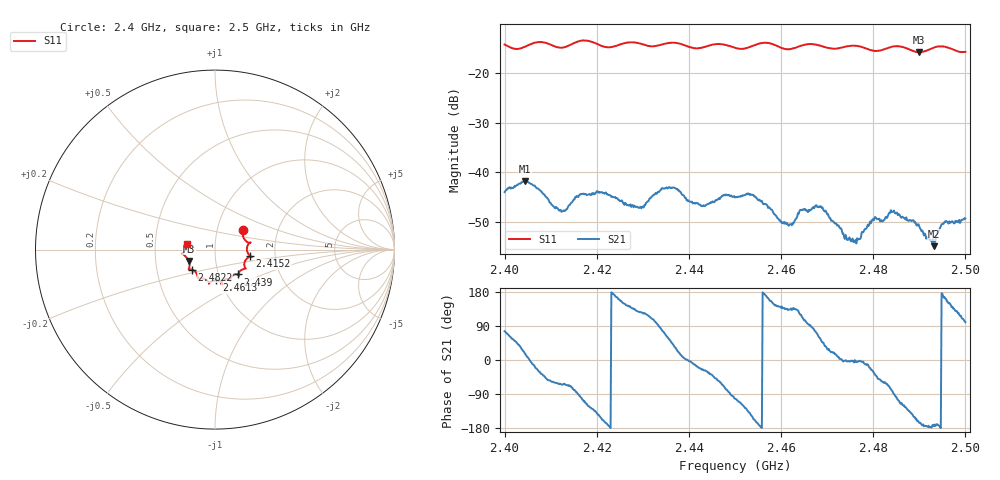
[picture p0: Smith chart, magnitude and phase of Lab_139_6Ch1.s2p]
# Hz S RI R 50
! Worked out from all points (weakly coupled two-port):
!   601 points, 2.4 GHz to 2.5 GHz, reference 50 ohm
!   highest |S21| = -41.78 dB at 2.4043 GHz (marker M1); lowest = -54.8 dB at 2.4932 GHz (marker M2)
!   lowest |S11| = -15.9 dB at 2.49 GHz (marker M3), VSWR 1.38, Z = 36.9 - j4.84 ohm
!   |S11| at or under -10 dB: start of sweep to end of sweep
!   S12 and S22 are empty: the file has one direction only
!   S11 on the Smith chart (normalised r, x): 2.4 GHz: 1.33, +0.31; 2.4152 GHz: 1.48, -0.11; 2.439 GHz: 1.24, -0.36; 2.4613 GHz: 0.96, -0.34; 2.4822 GHz: 0.76, -0.17; 2.5 GHz: 0.73, +0.05
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2.4e9  0.1552 0.1115  0.00154 0.00618  0 0  0 0
2.404333e9  0.1752 0.0453  0.00772 0.00259  0 0  0 0
2.412167e9  0.1776 0.00351  0.00186 -0.00379  0 0  0 0
2.415167e9  0.1952 -0.0362  0.00104 -0.00528  0 0  0 0
2.416667e9  0.2048 -0.0423  -0.00104 -0.00597  0 0  0 0
2.429333e9  0.1646 -0.1062  -0.00266 0.00361  0 0  0 0
2.433333e9  0.132 -0.1325  -0.000235 0.0064  0 0  0 0
2.439e9  0.1277 -0.1385  0.00573 0.000434  0 0  0 0
2.443167e9  0.0894 -0.1555  0.0042 -0.00211  0 0  0 0
2.45e9  0.0688 -0.1634  -0.00118 -0.00549  0 0  0 0
2.453833e9  0.0355 -0.182  -0.00524 -0.00288  0 0  0 0
2.461333e9  0.00764 -0.1711  -0.00219 0.0022  0 0  0 0
2.466667e9  -0.0339 -0.1904  0.000263 0.0043  0 0  0 0
2.468833e9  -0.0357 -0.1807  0.00292 0.00331  0 0  0 0
2.475833e9  -0.0939 -0.1608  0.00199 -0.000229  0 0  0 0
2.480167e9  -0.1081 -0.1251  0.00277 -0.00186  0 0  0 0
2.482167e9  -0.1283 -0.1116  0.0017 -0.00279  0 0  0 0
2.483333e9  -0.1395 -0.1102  0.00146 -0.00355  0 0  0 0
2.49e9  -0.1467 -0.0638  -0.00278 -0.000705  0 0  0 0
2.493167e9  -0.1765 -0.027  -0.00182 -0.000171  0 0  0 0
2.495333e9  -0.1812 -0.0204  -0.003 0.000831  0 0  0 0
2.5e9  -0.1582 0.0337  -0.000597 0.00341  0 0  0 0
